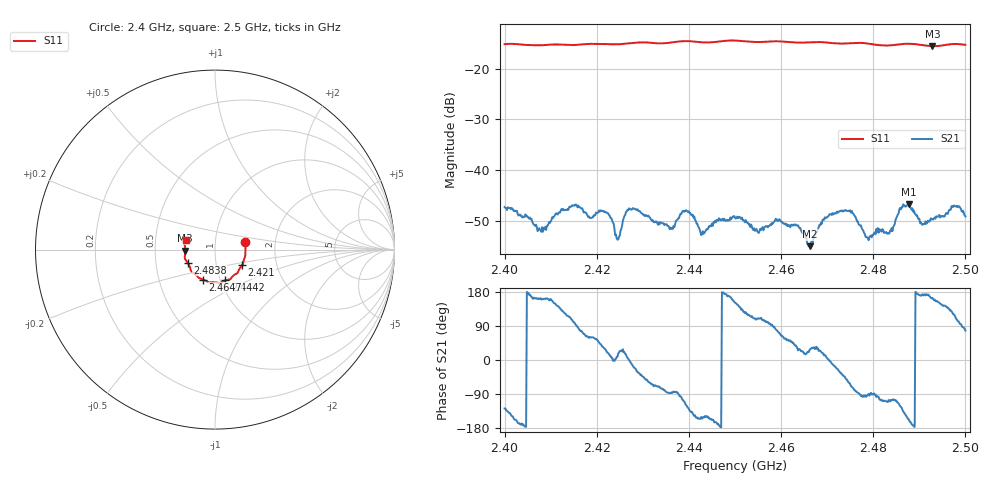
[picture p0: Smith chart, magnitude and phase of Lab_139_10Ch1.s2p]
# Hz S RI R 50
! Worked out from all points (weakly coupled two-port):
!   601 points, 2.4 GHz to 2.5 GHz, reference 50 ohm
!   highest |S21| = -46.60 dB at 2.4877 GHz (marker M1); lowest = -54.9 dB at 2.4663 GHz (marker M2)
!   lowest |S11| = -15.6 dB at 2.4928 GHz (marker M3), VSWR 1.40, Z = 35.8 - j0.376 ohm
!   |S11| at or under -10 dB: start of sweep to end of sweep
!   S12 and S22 are empty: the file has one direction only
!   S11 on the Smith chart (normalised r, x): 2.4 GHz: 1.40, +0.12; 2.421 GHz: 1.33, -0.24; 2.4442 GHz: 1.05, -0.37; 2.4647 GHz: 0.83, -0.29; 2.4838 GHz: 0.73, -0.11; 2.5 GHz: 0.72, +0.08
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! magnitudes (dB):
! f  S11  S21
! 2.4 GHz  -15.2  -47.2
! 2.4075 GHz  -15.4  -51.4
! 2.4167 GHz  -15.3  -47.5
! 2.421 GHz  -15.2  -48.0
! 2.4245 GHz  -15.2  -53.6
! 2.4272 GHz  -15.0  -47.6
! 2.4333 GHz  -15.1  -50.7
! 2.4363 GHz  -14.9  -51.3
! 2.4392 GHz  -14.6  -48.0
! 2.4442 GHz  -14.9  -51.5
! 2.45 GHz  -14.5  -49.3
! 2.4647 GHz  -14.9  -52.4
! 2.4663 GHz  -14.8  -54.9
! 2.4667 GHz  -14.8  -54.0
! 2.4695 GHz  -14.9  -49.2
! 2.4735 GHz  -15.1  -48.0
! 2.4787 GHz  -15.1  -53.2
! 2.4833 GHz  -15.5  -52.3
! 2.4838 GHz  -15.4  -51.9
! 2.4877 GHz  -15.1  -46.6
! 2.4928 GHz  -15.6  -49.5
! 2.5 GHz  -15.3  -49.0
